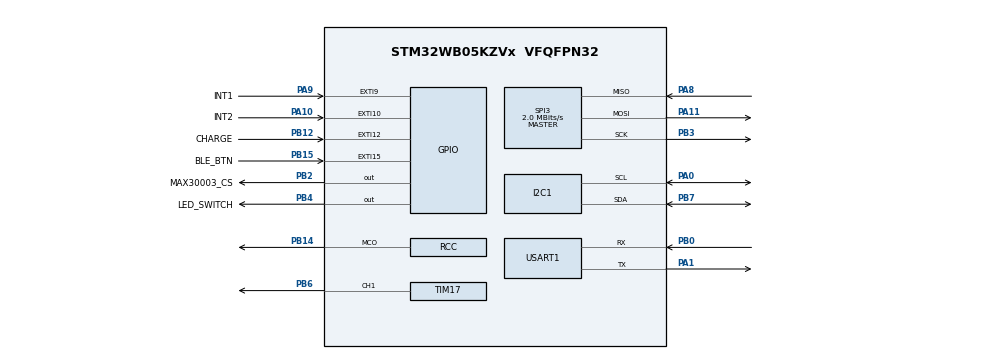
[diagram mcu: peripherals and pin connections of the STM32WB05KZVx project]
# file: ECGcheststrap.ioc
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I2C1.Timing=0x00303D5B
Mcu.Family=STM32WB0
Mcu.Name=STM32WB05KZVx
Mcu.Package=VFQFPN32
NVIC.PKA_IRQn=true\:1\:0\:false\:false\:true\:true\:true\:true
NVIC.RADIO_TIMER_CPU_WKUP_IRQn=true\:0\:0\:false\:false\:true\:false\:true\:true
NVIC.RADIO_TIMER_ERROR_IRQn=true\:0\:0\:false\:false\:true\:false\:true\:true
NVIC.RADIO_TXRX_IRQn=true\:0\:0\:false\:false\:true\:false\:true\:true
NVIC.RADIO_TXRX_SEQ_IRQn=true\:0\:0\:false\:false\:true\:false\:true\:true
OSCIN.Mode=HSE-External-Oscillator
OSCIN.Signal=RCC_OSC_IN
OSCOUT.Mode=HSE-External-Oscillator
OSCOUT.Signal=RCC_OSC_OUT
PA0.Mode=I2C
PA0.Signal=I2C1_SCL
PA1.Mode=Asynchronous
PA1.Signal=USART1_TX
PA10.GPIO_Label=INT2
PA10.Signal=GPXTI10
PA11.Mode=Full_Duplex_Master
PA11.Signal=SPI3_MOSI
PA2.Mode=Serial_Wire
PA2.Signal=DEBUG_SWDIO
PA3.Mode=Serial_Wire
PA3.Signal=DEBUG_SWCLK
PA8.Mode=Full_Duplex_Master
PA8.Signal=SPI3_MISO
PA9.GPIO_Label=INT1
PA9.Signal=GPXTI9
PB0.Mode=Asynchronous
PB0.Signal=USART1_RX
PB12.GPIO_Label=CHARGE
PB12.Signal=GPXTI12
PB13.Mode=LSE-External-Clock-Source
PB13.Signal=RCC_OSC32_IN
PB14.Mode=Clock-out
PB14.Signal=RCC_MCO
PB15.GPIO_Label=BLE_BTN
PB15.Signal=GPXTI15
PB2.GPIO_Label=MAX30003_CS
PB2.Signal=GPIO_Output
PB3.Mode=Full_Duplex_Master
PB3.Signal=SPI3_SCK
PB4.GPIO_Label=LED_SWITCH
PB4.Signal=GPIO_Output
PB6.Signal=S_TIM17_CH1
PB7.Mode=I2C
PB7.Signal=I2C1_SDA
ProjectManager.HeapSize=0x000
ProjectManager.StackSize=0xC00
ProjectManager.TargetToolchain=STM32CubeIDE
RCC.BLEMultSource=RCC_RF_CLK_16M
RCC.HSE_Capacitor_Tuning=4
RCC.HSE_VALUE=32000000
RCC.HSI_VALUE=64000000
RCC.RC64MPLLSource=RCC_LSCOSOURCE_PLL64
RCC.RCC_MCO1Source=RCC_MCO1SOURCE_HSE
RCC.RTCClockSelection=RCC_RTC_WDG_BLEWKUP_CLKSOURCE_LSE
RF1.Mode=RF1_Activate
RF1.Signal=RADIO_RF1
SH.S_TIM17_CH1.0=TIM17_CH1,PWM Generation1 CH1
SPI3.BaudRatePrescaler=SPI_BAUDRATEPRESCALER_32
SPI3.CalculateBaudRate=2.0 MBits/s
SPI3.DataSize=SPI_DATASIZE_8BIT
SPI3.Direction=SPI_DIRECTION_2LINES
SPI3.Mode=SPI_MODE_MASTER
SPI3.VirtualType=VM_MASTER
STM32_BLE.AD_TYPE_COMPLETE_LOCAL_NAME=Ryder Heart Rate Monitor
STM32_BLE.AD_TYPE_COMPLETE_LOCAL_NAME_LENGTH=25
STM32_BLE.CFG_BLE_COC_MPS_MAX=247
STM32_BLE.CFG_BLE_CONN_EVENT_LENGTH_MAX=4294967295
STM32_BLE.CFG_BLE_CONN_EVENT_LENGTH_MAX_HEXA=0xFFFFFFFF
STM32_BLE.CFG_BLE_CONTROLLER_2M_CODED_PHY_ENABLED=1
STM32_BLE.CFG_BLE_SECURE_CONNECTIONS_ENABLED=0
STM32_BLE.CFG_BLE_SLEEP_CLOCK_ACCURACY=100
STM32_BLE.INCLUDE_AD_TYPE_COMPLETE_LOCAL_NAME=1
STM32_BLE.NUMBER_OF_SERVICES=1
STM32_BLE.SERVICE1_CHAR1_LONG_NAME=HeartRateMeasurement
STM32_BLE.SERVICE1_CHAR1_PROP_READ=\ 
STM32_BLE.SERVICE1_CHAR1_PROP_WRITE=\ 
STM32_BLE.SERVICE1_CHAR1_SHORT_NAME=HRM
STM32_BLE.SERVICE1_CHAR1_UUID=0x2A37
STM32_BLE.SERVICE1_CHAR1_UUID_128_INPUT_TYPE=1
STM32_BLE.SERVICE1_CHAR1_UUID_ALLOCATION_TYPE=SIG
STM32_BLE.SERVICE1_CHAR1_UUID_TYPE=0x01
STM32_BLE.SERVICE1_CHAR1_VALUE_LENGTH=2
STM32_BLE.SERVICE1_LONG_NAME=HeartRate
STM32_BLE.SERVICE1_NUMBER_OF_CHARACTERISTICS=1
STM32_BLE.SERVICE1_SHORT_NAME=HRT
STM32_BLE.SERVICE1_UUID=18 0D
STM32_BLE.SERVICE1_UUID_TYPE=0x01
TIM17.Channel=TIM_CHANNEL_1
USART1.VirtualMode-Asynchronous=VM_ASYNC
VP_ADV_TRACE_VS_ADV_TRACE.Mode=ADV_TRACE_Enabled
VP_COMMON_BLE_VS_Utility_Common_BLE_1.0.0_1.0.0.Mode=Utility_Common
VP_MEMORYMAP_VS_MEMORYMAP.Mode=CurAppReg
VP_MISC_VS_MISC.Mode=MISC_Enabled
VP_PKA_VS_PKA.Mode=PKA_Activate
VP_PWR_VS_SECSignals.Mode=Security/Privilege
VP_RADIO_TIMER_VS_RADIO.Mode=RADIO_Activate
VP_RNG_VS_RNG.Mode=RNG_Activate
VP_STM32_BLE_VS_BLE_HOST_LSP.Mode=BLE_Server_Lite
VP_TIM17_VS_ClockSourceINT.Mode=Enable_Timer
VP_TINY_LPM_VS_TINY_LPM.Mode=TINY_LPM_Enabled
board=custom

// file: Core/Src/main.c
/* USER CODE BEGIN Header */
/**
 ******************************************************************************
 * @file           : main.c
 * @brief          : Main program body
 ******************************************************************************
 * @attention
 *
 * Copyright (c) 2025 STMicroelectronics.
 * All rights reserved.
 *
 * This software is licensed under terms that can be found in the LICENSE file
 * in the root directory of this software component.
 * If no LICENSE file comes with this software, it is provided AS-IS.
 *
 ******************************************************************************
 */
/* USER CODE END Header */
#include "main.h"

/* USER CODE BEGIN Includes */
#include "app_ble.h"
#include "max30003.h"
#include "usb_uart_driver.h"
#include <stdio.h>
#include <string.h>

/* USER CODE END Includes */

I2C_HandleTypeDef hi2c1;

PKA_HandleTypeDef hpka;

SPI_HandleTypeDef hspi3;

TIM_HandleTypeDef htim17;

UART_HandleTypeDef huart1;

/* USER CODE BEGIN PV */
/* Global handles */
MAX30003_Handle_t max30003;
MAX30003_Config_t max30003_config;
USB_UART_Handle usb_uart;

/* Teleplot buffer */
char teleplot_buffer[128];

/* Statistics */
uint32_t sample_count = 0;
uint32_t error_count = 0;
/* USER CODE END PV */

void SystemClock_Config(void);
void PeriphCommonClock_Config(void);
static void MX_GPIO_Init(void);
static void MX_I2C1_Init(void);
static void MX_SPI3_Init(void);
static void MX_TIM17_Init(void);
static void MX_USART1_UART_Init(void);
static void MX_RADIO_Init(void);
static void MX_RADIO_TIMER_Init(void);
static void MX_PKA_Init(void);
/* USER CODE BEGIN PFP */

void Send_To_Teleplot_Int(const char *variable, int32_t value) {
  int len = snprintf(teleplot_buffer, sizeof(teleplot_buffer), ">%s:%ld\n",
                     variable, (long)value);
  USB_UART_Transmit(&usb_uart, (uint8_t *)teleplot_buffer, len);
}

/* USER CODE END PFP */

int main(void) {

  /* USER CODE BEGIN 1 */
  MAX30003_Status_t status;
  MAX30003_ECG_Data_t ecg_data;
  uint32_t device_status;
  uint32_t rtor_interval;
  int32_t heart_rate_bpm; // Heart rate as integer
  /* USER CODE END 1 */

  /* MCU Configuration--------------------------------------------------------*/

  /* Reset of all peripherals, Initializes the Flash interface and the Systick.
   */
  HAL_Init();

  /* Configure the system clock */
  SystemClock_Config();

  /* Configure the peripherals common clocks */
  PeriphCommonClock_Config();

  /* Initialize all configured peripherals */
  MX_GPIO_Init();
  MX_I2C1_Init();
  MX_SPI3_Init();
  MX_TIM17_Init();
  MX_USART1_UART_Init();
  MX_RADIO_Init();
  MX_RADIO_TIMER_Init();
  MX_PKA_Init();
  /* USER CODE BEGIN 2 */

  /* Send startup message */
  USB_UART_Init(&usb_uart, &huart1);

  HAL_Delay(100);

  USB_UART_TransmitString(&usb_uart, "Starting MAX30003 ECG Stream...\n");

  /* Configure MAX30003 handle */
  max30003.hspi = &hspi3;
  max30003.cs_port = MAX30003_CS_GPIO_Port;
  max30003.cs_pin = MAX30003_CS_Pin; // Adjust to your CS pin
  max30003.timeout = 1000;

  /* Configure MAX30003 settings */
  max30003_config.gain = MAX30003_GAIN_80V;        // 20V/V gain
  max30003_config.dataRate = MAX30003_RATE_128SPS; // 128 samples/sec
  max30003_config.masterFreq = 0;                  // 32768Hz
  max30003_config.enableECG = true;
  max30003_config.enableRtoR = true;
  max30003_config.enableLeadOff = true;
  max30003_config.enableLeadBias = true;
  max30003_config.leadBiasValue = (uint8_t)MAX30003_LEADBIAS_200M; // 100MΩ

  /* Initialize MAX30003 */
  USB_UART_TransmitString(&usb_uart, "Initializing MAX30003...\n");
  status = MAX30003_Init(&max30003, &max30003_config);
  if (status != MAX30003_OK) {
    USB_UART_TransmitString(&usb_uart, "ERROR: MAX30003 init failed!\n");
    Error_Handler();
  }
  USB_UART_TransmitString(&usb_uart, "MAX30003 initialized successfully\n");

  // Configure Lead-Off Detection
  USB_UART_TransmitString(&usb_uart, "Configuring Lead-Off Detection...\n");
  uint8_t lead_off_current = 0x02;   // 10nA
  uint8_t lead_off_threshold = 0x01; // +/- 400mV
  status = MAX30003_ConfigureLeadOff(&max30003, true, lead_off_current,
                                     lead_off_threshold);
  if (status != MAX30003_OK) {
    USB_UART_TransmitString(&usb_uart, "WARNING: Lead-Off config failed\n");
  }

  // Enable Automatic Fast Recovery Mode
  USB_UART_TransmitString(&usb_uart, "Enabling Fast Recovery Mode...\n");
  status = MAX30003_EnableFastRecovery(&max30003, true);
  if (status != MAX30003_OK) {
    USB_UART_TransmitString(&usb_uart,
                            "WARNING: Fast Recovery config failed\n");
  }

  /* Enable interrupts for ECG FIFO and R-to-R */
  MAX30003_EnableInterrupts(&max30003,
                            MAX30003_STATUS_EINT |          // ECG FIFO
                                MAX30003_STATUS_RRINT |     // R-to-R
                                MAX30003_STATUS_DCLOFFINT); // Lead-off

  /* Start ECG conversion */
  status = MAX30003_StartConversion(&max30003);
  if (status != MAX30003_OK) {
    USB_UART_TransmitString(&usb_uart, "ERROR: Failed to start conversion!\n");
    Error_Handler();
  }

  /* Configure Teleplot colors */
  USB_UART_TransmitString(&usb_uart, ">ecg|g\n");        // ECG in green
  USB_UART_TransmitString(&usb_uart, ">heart_rate|r\n"); // Heart rate in red
  USB_UART_TransmitString(&usb_uart, ">lead_off|y\n");   // Lead-off in yellow

  USB_UART_TransmitString(&usb_uart, "Starting ECG stream...\n");

  /* USER CODE END 2 */

  /* Init code for STM32_BLE */
  MX_APPE_Init(NULL);

  /* USER CODE BEGIN 3 */
  /* Start BLE advertising to make device discoverable */
  APP_BLE_Procedure_Gap_Peripheral(PROC_GAP_PERIPH_ADVERTISE_START_FAST);
  USB_UART_TransmitString(&usb_uart,
                          "BLE Advertising started - Device discoverable as "
                          "'Ryder Heart Rate Monitor'\n");
  /* USER CODE END 3 */

  /* Infinite loop */
  /* USER CODE BEGIN WHILE */
  while (1) {
    /* Read device status */
    status = MAX30003_ReadStatus(&max30003, &device_status);

    if (status == MAX30003_OK) {

      /* Check for ECG FIFO data available */
      if (device_status & MAX30003_STATUS_EINT) {

        /* Read ECG sample from FIFO */
        status = MAX30003_ReadECGFIFO(&max30003, &ecg_data);

        if (status == MAX30003_OK) {
          /* Process based on ETAG */
          switch (ecg_data.etag) {
          case MAX30003_ETAG_VALID:
          case MAX30003_ETAG_VALID_EOF:
            /* Valid ECG sample - send raw ADC value directly */
            /* This is the most efficient - just send the raw 18-bit signed
             * value */
            Send_To_Teleplot_Int("ecg", ecg_data.ecgSample);

            sample_count++;
            break;

          case MAX30003_ETAG_FAST_MODE:
          case MAX30003_ETAG_FAST_EOF:
            /* Fast recovery mode - skip sample */
            break;

          case MAX30003_ETAG_OVERFLOW:
            /* FIFO overflow - reset FIFO */
            USB_UART_TransmitString(&usb_uart, "FIFO overflow! Resetting...\n");
            MAX30003_FIFOReset(&max30003);
            error_count++;
            break;

          case MAX30003_ETAG_EMPTY:
            /* FIFO empty - normal condition */
            break;
          }
        }
      }

      /* Check for R-to-R interval detection */
      if (device_status & MAX30003_STATUS_RRINT) {

        /* Read R-to-R interval (already validates RRINT in our driver) */
        status = MAX30003_ReadRtoR(&max30003, &rtor_interval);

        if (status == MAX30003_OK && rtor_interval > 0) {
          /* Calculate heart rate as integer */
          /* HR = 60000 / (interval * 8) */
          /* Using integer math: HR = 7500 / interval */
          heart_rate_bpm = 7500 / rtor_interval;

          /* Sanity check heart rate (30-200 bpm) */
          if (heart_rate_bpm >= 30 && heart_rate_bpm <= 200) {
            Send_To_Teleplot_Int("heart_rate", heart_rate_bpm);
          }
        }
      }

      /* Check for lead-off detection */
      if (device_status & MAX30003_STATUS_DCLOFFINT) {
        /* Lead-off detected */
        Send_To_Teleplot_Int("lead_off", 1);

        /* Check which electrode */
        if (device_status & MAX30003_STATUS_LDOFF_PH) {
          USB_UART_TransmitString(&usb_uart, "Lead-off: ECGP high\n");
        }
        if (device_status & MAX30003_STATUS_LDOFF_PL) {
          USB_UART_TransmitString(&usb_uart, "Lead-off: ECGP low\n");
        }
        if (device_status & MAX30003_STATUS_LDOFF_NH) {
          USB_UART_TransmitString(&usb_uart, "Lead-off: ECGN high\n");
        }
        if (device_status & MAX30003_STATUS_LDOFF_NL) {
          USB_UART_TransmitString(&usb_uart, "Lead-off: ECGN low\n");
        }
      } else {
        /* Electrodes connected properly */
        static uint32_t last_leadoff_update = 0;
        if (HAL_GetTick() - last_leadoff_update > 1000) {
          Send_To_Teleplot_Int("lead_off", 0);
          last_leadoff_update = HAL_GetTick();
        }
      }

      /* Print statistics every 5 seconds */
      static uint32_t last_stats_time = 0;
      if (HAL_GetTick() - last_stats_time > 5000) {
        char stats_buffer[100];
        snprintf(stats_buffer, sizeof(stats_buffer),
                 "Stats: %lu samples, %lu errors\n", sample_count, error_count);
        USB_UART_TransmitString(&usb_uart, stats_buffer);
        last_stats_time = HAL_GetTick();
      }
    }

    /* Small delay - at 128 sps, new sample every ~7.8ms */
    /* Check more frequently to avoid FIFO overflow */
    HAL_Delay(5);

    /* USER CODE END WHILE */
    MX_APPE_Process();

  }
}

void SystemClock_Config(void) {
  RCC_OscInitTypeDef RCC_OscInitStruct = {0};
  RCC_ClkInitTypeDef RCC_ClkInitStruct = {0};

  /** Initializes the RCC Oscillators according to the specified parameters
   * in the RCC_OscInitTypeDef structure.
   */
  RCC_OscInitStruct.OscillatorType =
      RCC_OSCILLATORTYPE_HSE | RCC_OSCILLATORTYPE_LSE_BYPASS;
  RCC_OscInitStruct.HSEState = RCC_HSE_ON;
  RCC_OscInitStruct.LSEState = RCC_LSE_ON;
  RCC_OscInitStruct.LSEBYPASSState = RCC_LSE_BYPASS_ON;

  if (HAL_RCC_OscConfig(&RCC_OscInitStruct) != HAL_OK) {
    Error_Handler();
  }

  /** Configure the SYSCLKSource and SYSCLKDivider
   */
  RCC_ClkInitStruct.SYSCLKSource = RCC_SYSCLKSOURCE_RC64MPLL;
  RCC_ClkInitStruct.SYSCLKDivider = RCC_RC64MPLL_DIV1;

  if (HAL_RCC_ClockConfig(&RCC_ClkInitStruct, FLASH_WAIT_STATES_1) != HAL_OK) {
    Error_Handler();
  }
  HAL_RCC_MCOConfig(RCC_MCO1, RCC_MCO1SOURCE_HSE, RCC_MCODIV_1);
}

void PeriphCommonClock_Config(void) {
  RCC_PeriphCLKInitTypeDef PeriphClkInitStruct = {0};

  /** Initializes the peripherals clock
   */
  PeriphClkInitStruct.PeriphClockSelection = RCC_PERIPHCLK_SMPS;
  PeriphClkInitStruct.SmpsDivSelection = RCC_SMPSCLK_DIV4;

  if (HAL_RCCEx_PeriphCLKConfig(&PeriphClkInitStruct) != HAL_OK) {
    Error_Handler();
  }
}

static void MX_I2C1_Init(void) {

  hi2c1.Instance = I2C1;
  hi2c1.Init.Timing = 0x00303D5B;
  hi2c1.Init.OwnAddress1 = 0;
  hi2c1.Init.AddressingMode = I2C_ADDRESSINGMODE_7BIT;
  hi2c1.Init.DualAddressMode = I2C_DUALADDRESS_DISABLE;
  hi2c1.Init.OwnAddress2 = 0;
  hi2c1.Init.OwnAddress2Masks = I2C_OA2_NOMASK;
  hi2c1.Init.GeneralCallMode = I2C_GENERALCALL_DISABLE;
  hi2c1.Init.NoStretchMode = I2C_NOSTRETCH_DISABLE;
  if (HAL_I2C_Init(&hi2c1) != HAL_OK) {
    Error_Handler();
  }

  /** Configure Analogue filter
   */
  if (HAL_I2CEx_ConfigAnalogFilter(&hi2c1, I2C_ANALOGFILTER_ENABLE) != HAL_OK) {
    Error_Handler();
  }

  /** Configure Digital filter
   */
  if (HAL_I2CEx_ConfigDigitalFilter(&hi2c1, 0) != HAL_OK) {
    Error_Handler();
  }
}

static void MX_PKA_Init(void) {

  hpka.Instance = PKA;
  if (HAL_PKA_Init(&hpka) != HAL_OK) {
    Error_Handler();
  }
}

static void MX_RADIO_Init(void) {

  RADIO_HandleTypeDef hradio = {0};

  if (__HAL_RCC_RADIO_IS_CLK_DISABLED()) {
    /* Radio Peripheral reset */
    __HAL_RCC_RADIO_FORCE_RESET();
    __HAL_RCC_RADIO_RELEASE_RESET();

    /* Enable Radio peripheral clock */
    __HAL_RCC_RADIO_CLK_ENABLE();
  }
  hradio.Instance = RADIO;
  HAL_RADIO_Init(&hradio);
}

static void MX_RADIO_TIMER_Init(void) {

  RADIO_TIMER_InitTypeDef RADIO_TIMER_InitStruct = {0};

  if (__HAL_RCC_RADIO_IS_CLK_DISABLED()) {
    /* Radio Peripheral reset */
    __HAL_RCC_RADIO_FORCE_RESET();
    __HAL_RCC_RADIO_RELEASE_RESET();

    /* Enable Radio peripheral clock */
    __HAL_RCC_RADIO_CLK_ENABLE();
  }
  /* Wait to be sure that the Radio Timer is active */
  while (LL_RADIO_TIMER_GetAbsoluteTime(WAKEUP) < 0x10)
    ;
  RADIO_TIMER_InitStruct.XTAL_StartupTime = 320;
  RADIO_TIMER_InitStruct.enableInitialCalibration = FALSE;
  RADIO_TIMER_InitStruct.periodicCalibrationInterval = 0;
  HAL_RADIO_TIMER_Init(&RADIO_TIMER_InitStruct);
}

static void MX_SPI3_Init(void) {

  /* SPI3 parameter configuration*/
  hspi3.Instance = SPI3;
  hspi3.Init.Mode = SPI_MODE_MASTER;
  hspi3.Init.Direction = SPI_DIRECTION_2LINES;
  hspi3.Init.DataSize = SPI_DATASIZE_8BIT;
  hspi3.Init.CLKPolarity = SPI_POLARITY_LOW;
  hspi3.Init.CLKPhase = SPI_PHASE_1EDGE;
  hspi3.Init.NSS = SPI_NSS_SOFT;
  hspi3.Init.BaudRatePrescaler = SPI_BAUDRATEPRESCALER_32;
  hspi3.Init.FirstBit = SPI_FIRSTBIT_MSB;
  hspi3.Init.TIMode = SPI_TIMODE_DISABLE;
  hspi3.Init.CRCCalculation = SPI_CRCCALCULATION_DISABLE;
  hspi3.Init.CRCPolynomial = 7;
  hspi3.Init.CRCLength = SPI_CRC_LENGTH_DATASIZE;
  hspi3.Init.NSSPMode = SPI_NSS_PULSE_ENABLE;
  if (HAL_SPI_Init(&hspi3) != HAL_OK) {
    Error_Handler();
  }
}

static void MX_TIM17_Init(void) {

  TIM_OC_InitTypeDef sConfigOC = {0};
  TIM_BreakDeadTimeConfigTypeDef sBreakDeadTimeConfig = {0};

  htim17.Instance = TIM17;
  htim17.Init.Prescaler = 0;
  htim17.Init.CounterMode = TIM_COUNTERMODE_UP;
  htim17.Init.Period = 65535;
  htim17.Init.ClockDivision = TIM_CLOCKDIVISION_DIV1;
  htim17.Init.RepetitionCounter = 0;
  htim17.Init.AutoReloadPreload = TIM_AUTORELOAD_PRELOAD_DISABLE;
  if (HAL_TIM_Base_Init(&htim17) != HAL_OK) {
    Error_Handler();
  }
  if (HAL_TIM_PWM_Init(&htim17) != HAL_OK) {
    Error_Handler();
  }
  sConfigOC.OCMode = TIM_OCMODE_PWM1;
  sConfigOC.Pulse = 0;
  sConfigOC.OCPolarity = TIM_OCPOLARITY_HIGH;
  sConfigOC.OCNPolarity = TIM_OCNPOLARITY_HIGH;
  sConfigOC.OCFastMode = TIM_OCFAST_DISABLE;
  sConfigOC.OCIdleState = TIM_OCIDLESTATE_RESET;
  sConfigOC.OCNIdleState = TIM_OCNIDLESTATE_RESET;
  if (HAL_TIM_PWM_ConfigChannel(&htim17, &sConfigOC, TIM_CHANNEL_1) != HAL_OK) {
    Error_Handler();
  }
  sBreakDeadTimeConfig.OffStateRunMode = TIM_OSSR_DISABLE;
  sBreakDeadTimeConfig.OffStateIDLEMode = TIM_OSSI_DISABLE;
  sBreakDeadTimeConfig.LockLevel = TIM_LOCKLEVEL_OFF;
  sBreakDeadTimeConfig.DeadTime = 0;
  sBreakDeadTimeConfig.BreakState = TIM_BREAK_DISABLE;
  sBreakDeadTimeConfig.BreakPolarity = TIM_BREAKPOLARITY_HIGH;
  sBreakDeadTimeConfig.BreakAFMode = TIM_BREAK_AFMODE_INPUT;
  sBreakDeadTimeConfig.AutomaticOutput = TIM_AUTOMATICOUTPUT_DISABLE;
  if (HAL_TIMEx_ConfigBreakDeadTime(&htim17, &sBreakDeadTimeConfig) != HAL_OK) {
    Error_Handler();
  }
  HAL_TIM_MspPostInit(&htim17);
}

static void MX_USART1_UART_Init(void) {

  huart1.Instance = USART1;
  huart1.Init.BaudRate = 115200;
  huart1.Init.WordLength = UART_WORDLENGTH_8B;
  huart1.Init.StopBits = UART_STOPBITS_1;
  huart1.Init.Parity = UART_PARITY_NONE;
  huart1.Init.Mode = UART_MODE_TX_RX;
  huart1.Init.HwFlowCtl = UART_HWCONTROL_NONE;
  huart1.Init.OverSampling = UART_OVERSAMPLING_16;
  huart1.Init.OneBitSampling = UART_ONE_BIT_SAMPLE_DISABLE;
  huart1.Init.ClockPrescaler = UART_PRESCALER_DIV1;
  huart1.AdvancedInit.AdvFeatureInit = UART_ADVFEATURE_NO_INIT;
  if (HAL_UART_Init(&huart1) != HAL_OK) {
    Error_Handler();
  }
  if (HAL_UARTEx_SetTxFifoThreshold(&huart1, UART_TXFIFO_THRESHOLD_1_8) !=
      HAL_OK) {
    Error_Handler();
  }
  if (HAL_UARTEx_SetRxFifoThreshold(&huart1, UART_RXFIFO_THRESHOLD_1_8) !=
      HAL_OK) {
    Error_Handler();
  }
  if (HAL_UARTEx_DisableFifoMode(&huart1) != HAL_OK) {
    Error_Handler();
  }
}

static void MX_GPIO_Init(void) {
  GPIO_InitTypeDef GPIO_InitStruct = {0};

  /* GPIO Ports Clock Enable */
  __HAL_RCC_GPIOB_CLK_ENABLE();
  __HAL_RCC_GPIOA_CLK_ENABLE();

  /*Configure GPIO pin Output Level */
  HAL_GPIO_WritePin(GPIOB, MAX30003_CS_Pin | LED_SWITCH_Pin, GPIO_PIN_RESET);

  /*Configure GPIO pins : MAX30003_CS_Pin LED_SWITCH_Pin */
  GPIO_InitStruct.Pin = MAX30003_CS_Pin | LED_SWITCH_Pin;
  GPIO_InitStruct.Mode = GPIO_MODE_OUTPUT_PP;
  GPIO_InitStruct.Pull = GPIO_NOPULL;
  GPIO_InitStruct.Speed = GPIO_SPEED_FREQ_LOW;
  HAL_GPIO_Init(GPIOB, &GPIO_InitStruct);

  /*Configure GPIO pin : PA2 */
  GPIO_InitStruct.Pin = GPIO_PIN_2;
  GPIO_InitStruct.Mode = GPIO_MODE_AF_PP;
  GPIO_InitStruct.Pull = GPIO_PULLUP;
  GPIO_InitStruct.Speed = GPIO_SPEED_FREQ_LOW;
  GPIO_InitStruct.Alternate = GPIO_AF7_SWDIO;
  HAL_GPIO_Init(GPIOA, &GPIO_InitStruct);

  /*Configure GPIO pins : INT1_Pin INT2_Pin */
  GPIO_InitStruct.Pin = INT1_Pin | INT2_Pin;
  GPIO_InitStruct.Mode = GPIO_MODE_IT_RISING;
  GPIO_InitStruct.Pull = GPIO_NOPULL;
  HAL_GPIO_Init(GPIOA, &GPIO_InitStruct);

  /*Configure GPIO pins : BLE_BTN_Pin CHARGE_Pin */
  GPIO_InitStruct.Pin = BLE_BTN_Pin | CHARGE_Pin;
  GPIO_InitStruct.Mode = GPIO_MODE_IT_RISING;
  GPIO_InitStruct.Pull = GPIO_NOPULL;
  HAL_GPIO_Init(GPIOB, &GPIO_InitStruct);

  /*Configure GPIO pin : PB14 */
  GPIO_InitStruct.Pin = GPIO_PIN_14;
  GPIO_InitStruct.Mode = GPIO_MODE_AF_PP;
  GPIO_InitStruct.Pull = GPIO_NOPULL;
  GPIO_InitStruct.Speed = GPIO_SPEED_FREQ_LOW;
  GPIO_InitStruct.Alternate = GPIO_AF3_MCO;
  HAL_GPIO_Init(GPIOB, &GPIO_InitStruct);

  /**/
  HAL_PWREx_DisableGPIOPullUp(PWR_GPIO_B, PWR_GPIO_BIT_2 | PWR_GPIO_BIT_14 |
                                              PWR_GPIO_BIT_4);

  /**/
  HAL_PWREx_DisableGPIOPullDown(PWR_GPIO_B, PWR_GPIO_BIT_2 | PWR_GPIO_BIT_14 |
                                                PWR_GPIO_BIT_4);

  /**/
  HAL_PWREx_EnableGPIOPullUp(PWR_GPIO_A, PWR_GPIO_BIT_2);

  /*RT DEBUG GPIO_Init */
  RT_DEBUG_GPIO_Init();

}

void Error_Handler(void) {
  __disable_irq();
  while (1) {
  }
}

#ifdef USE_FULL_ASSERT
/**
 * @brief  Reports the name of the source file and the source line number
 *         where the assert_param error has occurred.
 * @param  file: pointer to the source file name
 * @param  line: assert_param error line source number
 * @retval None
 */
void assert_failed(uint8_t *file, uint32_t line) {
  /* USER CODE BEGIN 6 */
  /* User can add his own implementation to report the file name and line
     number, ex: printf("Wrong parameters value: file %s on line %d\r\n", file,
     line) */
  /* USER CODE END 6 */
}
#endif /* USE_FULL_ASSERT */
